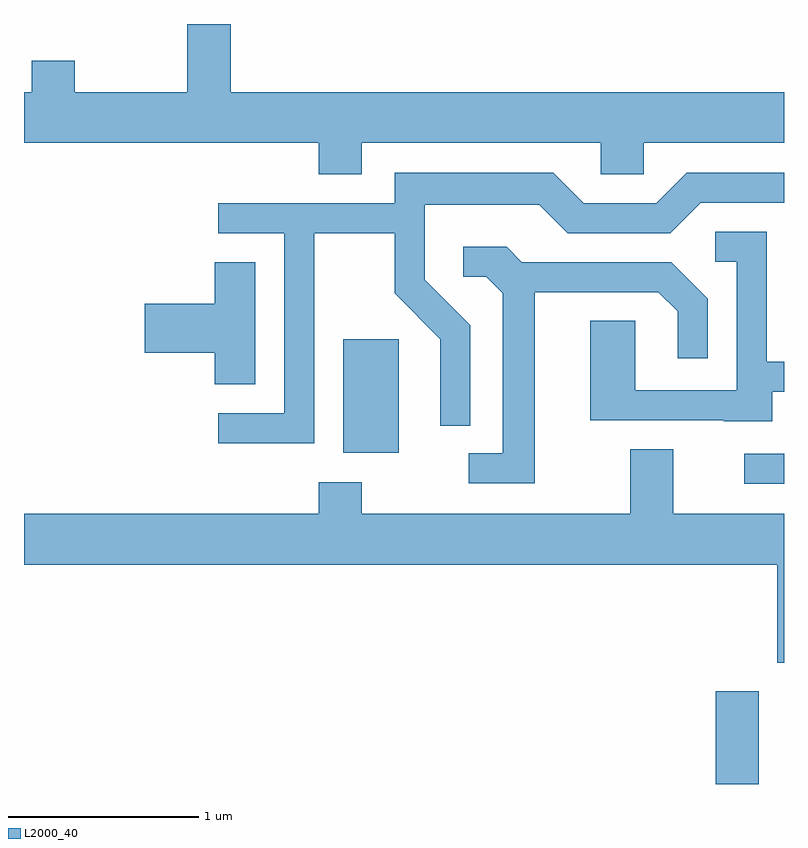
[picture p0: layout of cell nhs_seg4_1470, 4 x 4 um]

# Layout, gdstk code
import gdstk
lib = gdstk.Library(unit=1e-6, precision=1e-09)
def R(c, l, rs):  # rectangles x0, y0, x1, y1
    for r in rs: c.add(gdstk.rectangle(r[:2], r[2:], *l))
def P(c, l, *ps):  # polygons
    for p in ps: c.add(gdstk.Polygon(p, *l))
L2000_40 = (2000, 40)

nhs_seg4_1470 = lib.new_cell('nhs_seg4_1470')
R(nhs_seg4_1470, L2000_40, [(231.251,1337.982,231.479,1338.469), (231.403,1339.561,231.611,1339.719), (229.291,1339.726,229.584,1340.324)])
P(nhs_seg4_1470, L2000_40, [(228.699,1341.982),(228.471,1341.982),(228.471,1341.624),(227.879,1341.624),(227.879,1341.789),(227.651,1341.789),(227.651,1341.624),(227.611,1341.624),(227.611,1341.356),(229.161,1341.356),(229.161,1341.191),(229.389,1341.191),(229.389,1341.356),(230.646,1341.356),(230.646,1341.191),(230.874,1341.191),(230.874,1341.356),(231.611,1341.356),(231.611,1341.624),(228.699,1341.624)],
  [(229.139,1340.881),(229.561,1340.881),(229.561,1340.564),(229.801,1340.324),(229.801,1339.868),(229.959,1339.868),(229.959,1340.397),(229.719,1340.637),(229.719,1341.031),(230.324,1341.031),(230.474,1340.881),(231.012,1340.881),(231.172,1341.041),(231.611,1341.041),(231.611,1341.199),(231.099,1341.199),(230.939,1341.039),(230.557,1341.039),(230.397,1341.199),(229.561,1341.199),(229.561,1341.039),(228.633,1341.039),(228.633,1340.881),(228.981,1340.881),(228.981,1339.934),(228.633,1339.934),(228.633,1339.776),(229.139,1339.776)],
  [(231.549,1340.046),(231.611,1340.046),(231.611,1340.204),(231.519,1340.204),(231.519,1340.889),(231.248,1340.889),(231.248,1340.731),(231.361,1340.731),(231.361,1340.054),(230.829,1340.054),(230.829,1340.419),(230.591,1340.419),(230.591,1339.896),(231.295,1339.896),(231.295,1339.891),(231.549,1339.891)],
  [(230.299,1340.571),(230.949,1340.571),(231.051,1340.469),(231.051,1340.223),(231.209,1340.223),(231.209,1340.537),(231.017,1340.729),(230.232,1340.729),(230.152,1340.809),(229.923,1340.809),(229.923,1340.651),(230.044,1340.651),(230.131,1340.564),(230.131,1339.724),(229.953,1339.724),(229.953,1339.566),(230.299,1339.566)],
  [(228.829,1340.729),(228.616,1340.729),(228.616,1340.509),(228.246,1340.509),(228.246,1340.251),(228.616,1340.251),(228.616,1340.086),(228.829,1340.086)],
  [(231.611,1339.404),(231.029,1339.404),(231.029,1339.744),(230.801,1339.744),(230.801,1339.404),(229.389,1339.404),(229.389,1339.569),(229.161,1339.569),(229.161,1339.404),(227.611,1339.404),(227.611,1339.136),(231.576,1339.136),(231.576,1338.621),(231.611,1338.621)])

lib.write_gds('nhs_seg4_1470.gds')
